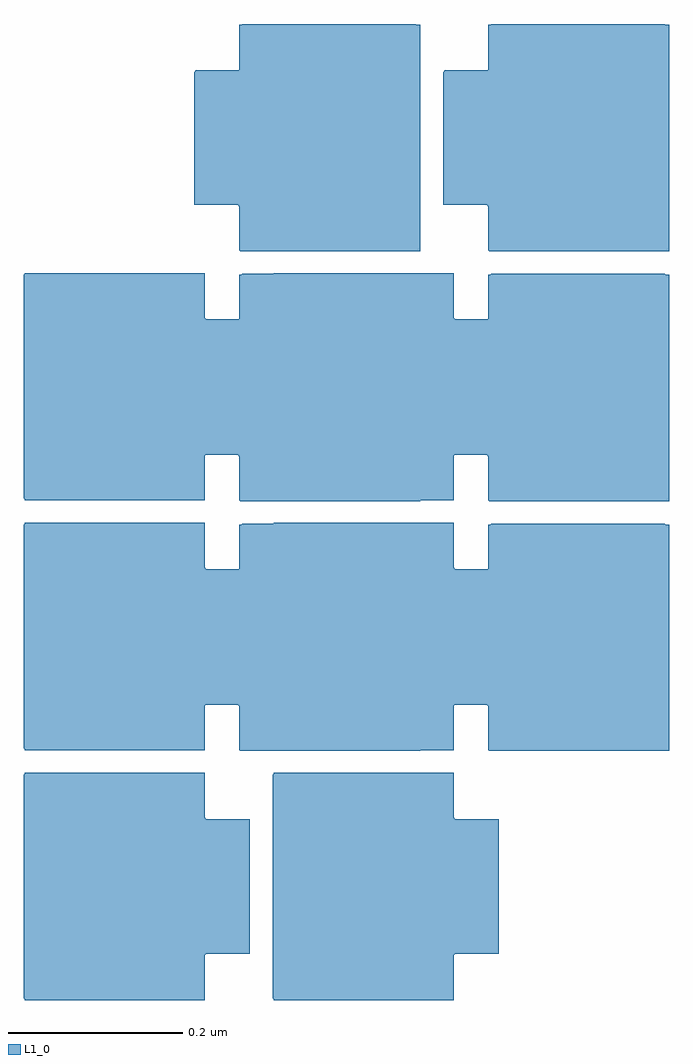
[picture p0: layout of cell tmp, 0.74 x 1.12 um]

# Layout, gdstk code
import gdstk
lib = gdstk.Library(unit=1e-6, precision=1e-09)
def P(c, l, *ps):  # polygons
    for p in ps: c.add(gdstk.Polygon(p, *l))
L1_0 = (1, 0)

tmp = lib.new_cell('tmp')
P(tmp, L1_0, [(0.56,0.619),(0.559,0.62),(0.559,0.67),(0.557,0.672),(0.507,0.672),(0.507,0.824),(0.509,0.826),(0.558,0.826),(0.559,0.827),(0.559,0.878),(0.561,0.878),(0.562,0.879),(0.761,0.879),(0.762,0.878),(0.766,0.878),(0.766,0.619)],
  [(0.313,0.334),(0.313,0.335),(0.312,0.336),(0.312,0.592),(0.313,0.593),(0.313,0.594),(0.519,0.594),(0.519,0.543),(0.521,0.541),(0.571,0.541),(0.571,0.387),(0.521,0.387),(0.519,0.385),(0.519,0.334)],
  [(0.56,0.905),(0.559,0.906),(0.559,0.956),(0.557,0.958),(0.507,0.958),(0.507,1.11),(0.509,1.112),(0.558,1.112),(0.559,1.113),(0.559,1.164),(0.561,1.164),(0.562,1.165),(0.761,1.165),(0.762,1.164),(0.766,1.164),(0.766,0.905)],
  [(0.313,0.62),(0.313,0.621),(0.312,0.622),(0.312,0.878),(0.313,0.879),(0.313,0.88),(0.519,0.88),(0.519,0.829),(0.521,0.827),(0.571,0.827),(0.571,0.673),(0.521,0.673),(0.519,0.671),(0.519,0.62)],
  [(0.56,1.191),(0.559,1.192),(0.559,1.242),(0.557,1.244),(0.507,1.244),(0.507,1.396),(0.509,1.398),(0.558,1.398),(0.559,1.399),(0.559,1.45),(0.561,1.45),(0.562,1.451),(0.761,1.451),(0.762,1.45),(0.766,1.45),(0.766,1.191)],
  [(0.313,0.906),(0.313,0.907),(0.312,0.908),(0.312,1.164),(0.313,1.165),(0.313,1.166),(0.519,1.166),(0.519,1.115),(0.521,1.113),(0.571,1.113),(0.571,0.959),(0.521,0.959),(0.519,0.957),(0.519,0.906)],
  [(0.845,0.619),(0.844,0.62),(0.844,0.67),(0.842,0.672),(0.792,0.672),(0.792,0.824),(0.794,0.826),(0.843,0.826),(0.844,0.827),(0.844,0.878),(0.846,0.878),(0.847,0.879),(1.046,0.879),(1.047,0.878),(1.051,0.878),(1.051,0.619)],
  [(0.598,0.334),(0.598,0.335),(0.597,0.336),(0.597,0.592),(0.598,0.593),(0.598,0.594),(0.804,0.594),(0.804,0.543),(0.806,0.541),(0.856,0.541),(0.856,0.387),(0.806,0.387),(0.804,0.385),(0.804,0.334)],
  [(0.845,0.905),(0.844,0.906),(0.844,0.956),(0.842,0.958),(0.792,0.958),(0.792,1.11),(0.794,1.112),(0.843,1.112),(0.844,1.113),(0.844,1.164),(0.846,1.164),(0.847,1.165),(1.046,1.165),(1.047,1.164),(1.051,1.164),(1.051,0.905)],
  [(0.598,0.62),(0.598,0.621),(0.597,0.622),(0.597,0.878),(0.598,0.879),(0.598,0.88),(0.804,0.88),(0.804,0.829),(0.806,0.827),(0.856,0.827),(0.856,0.673),(0.806,0.673),(0.804,0.671),(0.804,0.62)],
  [(0.845,1.191),(0.844,1.192),(0.844,1.242),(0.842,1.244),(0.792,1.244),(0.792,1.396),(0.794,1.398),(0.843,1.398),(0.844,1.399),(0.844,1.45),(0.846,1.45),(0.847,1.451),(1.046,1.451),(1.047,1.45),(1.051,1.45),(1.051,1.191)],
  [(0.598,0.906),(0.598,0.907),(0.597,0.908),(0.597,1.164),(0.598,1.165),(0.598,1.166),(0.804,1.166),(0.804,1.115),(0.806,1.113),(0.856,1.113),(0.856,0.959),(0.806,0.959),(0.804,0.957),(0.804,0.906)])

lib.write_gds('tmp.gds')
